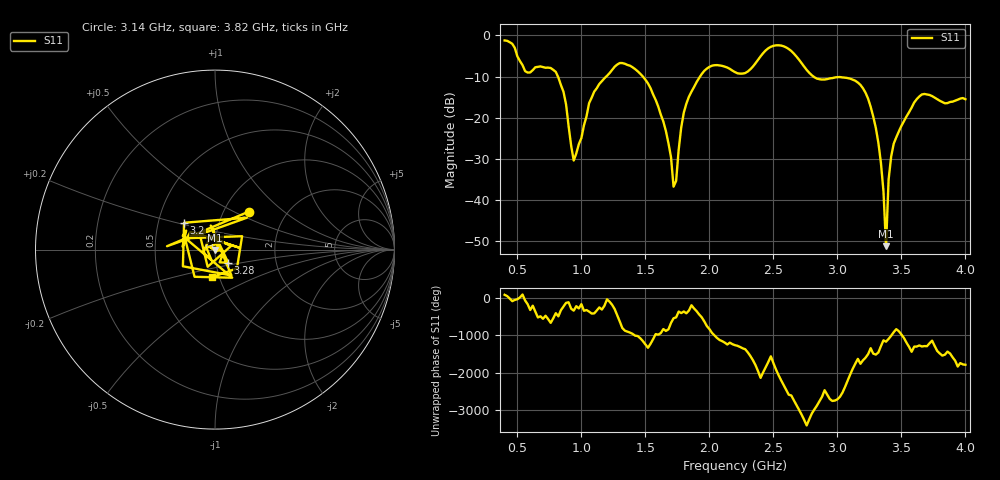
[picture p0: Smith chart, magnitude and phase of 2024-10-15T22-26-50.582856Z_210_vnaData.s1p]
! Created with skrf (http://scikit-rf.org).
# Hz S RI R 50.0
!freq ReS11 ImS11
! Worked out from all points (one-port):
!   181 points, 400 MHz to 4 GHz, reference 50 ohm
!   lowest |S11| = -51.2 dB at 3.38 GHz (marker M1), VSWR 1.01, Z = 50 - j0.276 ohm
!   |S11| at or under -10 dB: 816.9 MHz to 1.193 GHz (376.2 MHz wide, 37.4 % of centre); 1.481 GHz to 1.926 GHz (445.4 MHz wide, 26.1 % of centre); 2.814 GHz to end of sweep
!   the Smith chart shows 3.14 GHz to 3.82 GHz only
!   S11 on the Smith chart (normalised r, x): 3.14 GHz: 1.30, +0.60; 3.2 GHz: 0.68, +0.21; 3.28 GHz: 1.15, -0.17; 3.82 GHz: 0.92, -0.29
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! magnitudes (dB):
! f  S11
! 400 MHz  -1.2
! 800 MHz  -8.8
! 860 MHz  -13.7
! 940 MHz  -30.4
! 1.1 GHz  -13.6
! 1.3 GHz  -6.7
! 1.58 GHz  -15.6
! 1.68 GHz  -26.1
! 1.72 GHz  -36.7
! 1.76 GHz  -27.7
! 1.82 GHz  -16.6
! 1.94 GHz  -9.4
! 2.2 GHz  -8.9
! 2.5 GHz  -2.5
! 2.66 GHz  -4.4
! 2.84 GHz  -10.5
! 3.1 GHz  -10.5
! 3.14 GHz  -11.0
! 3.2 GHz  -12.8
! 3.28 GHz  -19.7
! 3.34 GHz  -30.9
! 3.38 GHz  -51.2
! 3.4 GHz  -35.0
! 3.42 GHz  -29.4
! 3.56 GHz  -18.6
! 3.66 GHz  -14.3
! 3.82 GHz  -16.2
! 4 GHz  -15.5
